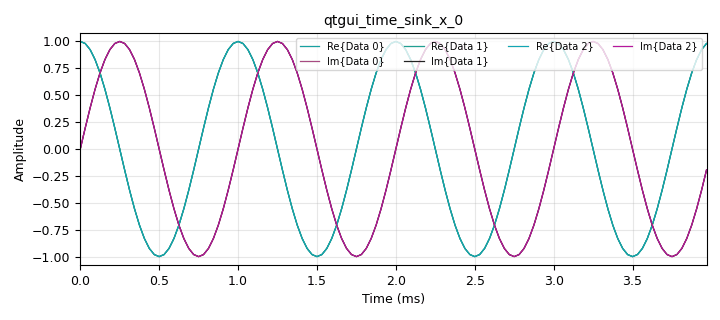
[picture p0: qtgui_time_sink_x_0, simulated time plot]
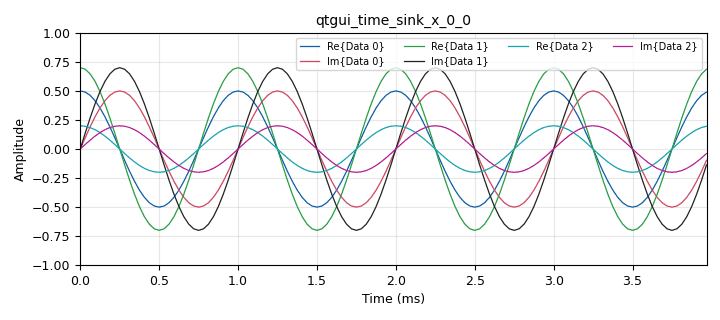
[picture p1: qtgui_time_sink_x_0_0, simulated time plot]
<?xml version='1.0' encoding='utf-8'?>
<?grc format='1' created='3.7.8'?>
<flow_graph>
<block>
<key>options</key>
<param><key>id</key><value>top_block</value></param>
<param><key>category</key><value>Custom</value></param>
<param><key>generate_options</key><value>qt_gui</value></param>
</block>
<block>
<key>variable</key>
<param><key>id</key><value>samp_rate</value></param>
<param><key>value</key><value>32000</value></param>
</block>
<block>
<key>variable</key>
<param><key>id</key><value>vec_length</value></param>
<param><key>value</key><value>1024</value></param>
</block>
<block>
<key>analog_const_source_x</key>
<param><key>id</key><value>analog_const_source_x_0</value></param>
<param><key>const</key><value>0</value></param>
<param><key>type</key><value>float</value></param>
</block>
<block>
<key>analog_sig_source_x</key>
<param><key>id</key><value>analog_sig_source_x_0</value></param>
<param><key>amp</key><value>1</value></param>
<param><key>freq</key><value>1000</value></param>
<param><key>offset</key><value>0</value></param>
<param><key>type</key><value>complex</value></param>
<param><key>samp_rate</key><value>samp_rate</value></param>
<param><key>waveform</key><value>analog.GR_COS_WAVE</value></param>
</block>
<block>
<key>blocks_complex_to_real</key>
<param><key>id</key><value>blocks_complex_to_real_0</value></param>
</block>
<block>
<key>blocks_complex_to_real</key>
<param><key>id</key><value>blocks_complex_to_real_0_0</value></param>
</block>
<block>
<key>blocks_complex_to_real</key>
<param><key>id</key><value>blocks_complex_to_real_0_1</value></param>
</block>
<block>
<key>blocks_divide_xx</key>
<param><key>id</key><value>blocks_divide_xx_0</value></param>
<param><key>type</key><value>complex</value></param>
</block>
<block>
<key>blocks_divide_xx</key>
<param><key>id</key><value>blocks_divide_xx_0_0</value></param>
<param><key>type</key><value>complex</value></param>
</block>
<block>
<key>blocks_divide_xx</key>
<param><key>id</key><value>blocks_divide_xx_0_1</value></param>
<param><key>type</key><value>complex</value></param>
</block>
<block>
<key>blocks_float_to_complex</key>
<param><key>id</key><value>blocks_float_to_complex_0</value></param>
</block>
<block>
<key>blocks_float_to_complex</key>
<param><key>id</key><value>blocks_float_to_complex_0_0</value></param>
</block>
<block>
<key>blocks_float_to_complex</key>
<param><key>id</key><value>blocks_float_to_complex_0_1</value></param>
</block>
<block>
<key>blocks_max_xx</key>
<param><key>id</key><value>blocks_max_xx_0</value></param>
<param><key>type</key><value>float</value></param>
<param><key>vlen</key><value>vec_length</value></param>
</block>
<block>
<key>blocks_max_xx</key>
<param><key>id</key><value>blocks_max_xx_0_0</value></param>
<param><key>type</key><value>float</value></param>
<param><key>vlen</key><value>vec_length</value></param>
</block>
<block>
<key>blocks_max_xx</key>
<param><key>id</key><value>blocks_max_xx_2</value></param>
<param><key>type</key><value>float</value></param>
<param><key>vlen</key><value>vec_length</value></param>
</block>
<block>
<key>blocks_multiply_const_vxx</key>
<param><key>id</key><value>blocks_multiply_const_vxx_0</value></param>
<param><key>const</key><value>0.5</value></param>
<param><key>type</key><value>complex</value></param>
</block>
<block>
<key>blocks_multiply_const_vxx</key>
<param><key>id</key><value>blocks_multiply_const_vxx_0_0</value></param>
<param><key>const</key><value>0.2</value></param>
<param><key>type</key><value>complex</value></param>
</block>
<block>
<key>blocks_multiply_const_vxx</key>
<param><key>id</key><value>blocks_multiply_const_vxx_0_1</value></param>
<param><key>const</key><value>0.7</value></param>
<param><key>type</key><value>complex</value></param>
</block>
<block>
<key>blocks_repeat</key>
<param><key>id</key><value>blocks_repeat_0</value></param>
<param><key>interp</key><value>vec_length</value></param>
<param><key>type</key><value>float</value></param>
</block>
<block>
<key>blocks_repeat</key>
<param><key>id</key><value>blocks_repeat_0_0</value></param>
<param><key>interp</key><value>vec_length</value></param>
<param><key>type</key><value>float</value></param>
</block>
<block>
<key>blocks_repeat</key>
<param><key>id</key><value>blocks_repeat_0_1</value></param>
<param><key>interp</key><value>vec_length</value></param>
<param><key>type</key><value>float</value></param>
</block>
<block>
<key>blocks_stream_to_vector</key>
<param><key>id</key><value>blocks_stream_to_vector_0</value></param>
<param><key>type</key><value>float</value></param>
<param><key>num_items</key><value>vec_length</value></param>
</block>
<block>
<key>blocks_stream_to_vector</key>
<param><key>id</key><value>blocks_stream_to_vector_0_0</value></param>
<param><key>type</key><value>float</value></param>
<param><key>num_items</key><value>vec_length</value></param>
</block>
<block>
<key>blocks_stream_to_vector</key>
<param><key>id</key><value>blocks_stream_to_vector_0_1</value></param>
<param><key>type</key><value>float</value></param>
<param><key>num_items</key><value>vec_length</value></param>
</block>
<block>
<key>blocks_throttle</key>
<param><key>id</key><value>blocks_throttle_0</value></param>
<param><key>samples_per_second</key><value>samp_rate</value></param>
<param><key>type</key><value>complex</value></param>
</block>
<block>
<key>qtgui_time_sink_x</key>
<param><key>id</key><value>qtgui_time_sink_x_0</value></param>
<param><key>color1</key><value>"blue"</value></param>
<param><key>label1</key><value></value></param>
<param><key>color2</key><value>"red"</value></param>
<param><key>label2</key><value></value></param>
<param><key>color3</key><value>"green"</value></param>
<param><key>label3</key><value></value></param>
<param><key>color4</key><value>"black"</value></param>
<param><key>label4</key><value></value></param>
<param><key>color5</key><value>"cyan"</value></param>
<param><key>label5</key><value></value></param>
<param><key>color6</key><value>"magenta"</value></param>
<param><key>label6</key><value></value></param>
<param><key>nconnections</key><value>3</value></param>
<param><key>size</key><value>128</value></param>
<param><key>srate</key><value>samp_rate</value></param>
<param><key>type</key><value>complex</value></param>
</block>
<block>
<key>qtgui_time_sink_x</key>
<param><key>id</key><value>qtgui_time_sink_x_0_0</value></param>
<param><key>color1</key><value>"blue"</value></param>
<param><key>label1</key><value></value></param>
<param><key>color2</key><value>"red"</value></param>
<param><key>label2</key><value></value></param>
<param><key>color3</key><value>"green"</value></param>
<param><key>label3</key><value></value></param>
<param><key>color4</key><value>"black"</value></param>
<param><key>label4</key><value></value></param>
<param><key>color5</key><value>"cyan"</value></param>
<param><key>label5</key><value></value></param>
<param><key>color6</key><value>"magenta"</value></param>
<param><key>label6</key><value></value></param>
<param><key>nconnections</key><value>3</value></param>
<param><key>size</key><value>128</value></param>
<param><key>srate</key><value>samp_rate</value></param>
<param><key>type</key><value>complex</value></param>
</block>
<connection><source_block_id>analog_const_source_x_0</source_block_id><sink_block_id>blocks_float_to_complex_0</sink_block_id><source_key>0</source_key><sink_key>1</sink_key></connection>
<connection><source_block_id>analog_const_source_x_0</source_block_id><sink_block_id>blocks_float_to_complex_0_0</sink_block_id><source_key>0</source_key><sink_key>1</sink_key></connection>
<connection><source_block_id>analog_const_source_x_0</source_block_id><sink_block_id>blocks_float_to_complex_0_1</sink_block_id><source_key>0</source_key><sink_key>1</sink_key></connection>
<connection><source_block_id>analog_sig_source_x_0</source_block_id><sink_block_id>blocks_throttle_0</sink_block_id><source_key>0</source_key><sink_key>0</sink_key></connection>
<connection><source_block_id>blocks_complex_to_real_0</source_block_id><sink_block_id>blocks_stream_to_vector_0</sink_block_id><source_key>0</source_key><sink_key>0</sink_key></connection>
<connection><source_block_id>blocks_complex_to_real_0_0</source_block_id><sink_block_id>blocks_stream_to_vector_0_0</sink_block_id><source_key>0</source_key><sink_key>0</sink_key></connection>
<connection><source_block_id>blocks_complex_to_real_0_1</source_block_id><sink_block_id>blocks_stream_to_vector_0_1</sink_block_id><source_key>0</source_key><sink_key>0</sink_key></connection>
<connection><source_block_id>blocks_divide_xx_0</source_block_id><sink_block_id>qtgui_time_sink_x_0</sink_block_id><source_key>0</source_key><sink_key>0</sink_key></connection>
<connection><source_block_id>blocks_divide_xx_0_0</source_block_id><sink_block_id>qtgui_time_sink_x_0</sink_block_id><source_key>0</source_key><sink_key>1</sink_key></connection>
<connection><source_block_id>blocks_divide_xx_0_1</source_block_id><sink_block_id>qtgui_time_sink_x_0</sink_block_id><source_key>0</source_key><sink_key>2</sink_key></connection>
<connection><source_block_id>blocks_float_to_complex_0</source_block_id><sink_block_id>blocks_divide_xx_0</sink_block_id><source_key>0</source_key><sink_key>1</sink_key></connection>
<connection><source_block_id>blocks_float_to_complex_0_0</source_block_id><sink_block_id>blocks_divide_xx_0_0</sink_block_id><source_key>0</source_key><sink_key>1</sink_key></connection>
<connection><source_block_id>blocks_float_to_complex_0_1</source_block_id><sink_block_id>blocks_divide_xx_0_1</sink_block_id><source_key>0</source_key><sink_key>1</sink_key></connection>
<connection><source_block_id>blocks_max_xx_0</source_block_id><sink_block_id>blocks_repeat_0_1</sink_block_id><source_key>0</source_key><sink_key>0</sink_key></connection>
<connection><source_block_id>blocks_max_xx_0_0</source_block_id><sink_block_id>blocks_repeat_0</sink_block_id><source_key>0</source_key><sink_key>0</sink_key></connection>
<connection><source_block_id>blocks_max_xx_2</source_block_id><sink_block_id>blocks_repeat_0_0</sink_block_id><source_key>0</source_key><sink_key>0</sink_key></connection>
<connection><source_block_id>blocks_multiply_const_vxx_0</source_block_id><sink_block_id>blocks_complex_to_real_0</sink_block_id><source_key>0</source_key><sink_key>0</sink_key></connection>
<connection><source_block_id>blocks_multiply_const_vxx_0</source_block_id><sink_block_id>blocks_divide_xx_0</sink_block_id><source_key>0</source_key><sink_key>0</sink_key></connection>
<connection><source_block_id>blocks_multiply_const_vxx_0</source_block_id><sink_block_id>qtgui_time_sink_x_0_0</sink_block_id><source_key>0</source_key><sink_key>0</sink_key></connection>
<connection><source_block_id>blocks_multiply_const_vxx_0_0</source_block_id><sink_block_id>blocks_complex_to_real_0_0</sink_block_id><source_key>0</source_key><sink_key>0</sink_key></connection>
<connection><source_block_id>blocks_multiply_const_vxx_0_0</source_block_id><sink_block_id>blocks_divide_xx_0_1</sink_block_id><source_key>0</source_key><sink_key>0</sink_key></connection>
<connection><source_block_id>blocks_multiply_const_vxx_0_0</source_block_id><sink_block_id>qtgui_time_sink_x_0_0</sink_block_id><source_key>0</source_key><sink_key>2</sink_key></connection>
<connection><source_block_id>blocks_multiply_const_vxx_0_1</source_block_id><sink_block_id>blocks_complex_to_real_0_1</sink_block_id><source_key>0</source_key><sink_key>0</sink_key></connection>
<connection><source_block_id>blocks_multiply_const_vxx_0_1</source_block_id><sink_block_id>blocks_divide_xx_0_0</sink_block_id><source_key>0</source_key><sink_key>0</sink_key></connection>
<connection><source_block_id>blocks_multiply_const_vxx_0_1</source_block_id><sink_block_id>qtgui_time_sink_x_0_0</sink_block_id><source_key>0</source_key><sink_key>1</sink_key></connection>
<connection><source_block_id>blocks_repeat_0</source_block_id><sink_block_id>blocks_float_to_complex_0</sink_block_id><source_key>0</source_key><sink_key>0</sink_key></connection>
<connection><source_block_id>blocks_repeat_0_0</source_block_id><sink_block_id>blocks_float_to_complex_0_0</sink_block_id><source_key>0</source_key><sink_key>0</sink_key></connection>
<connection><source_block_id>blocks_repeat_0_1</source_block_id><sink_block_id>blocks_float_to_complex_0_1</sink_block_id><source_key>0</source_key><sink_key>0</sink_key></connection>
<connection><source_block_id>blocks_stream_to_vector_0</source_block_id><sink_block_id>blocks_max_xx_0_0</sink_block_id><source_key>0</source_key><sink_key>0</sink_key></connection>
<connection><source_block_id>blocks_stream_to_vector_0_0</source_block_id><sink_block_id>blocks_max_xx_0</sink_block_id><source_key>0</source_key><sink_key>0</sink_key></connection>
<connection><source_block_id>blocks_stream_to_vector_0_1</source_block_id><sink_block_id>blocks_max_xx_2</sink_block_id><source_key>0</source_key><sink_key>0</sink_key></connection>
<connection><source_block_id>blocks_throttle_0</source_block_id><sink_block_id>blocks_multiply_const_vxx_0</sink_block_id><source_key>0</source_key><sink_key>0</sink_key></connection>
<connection><source_block_id>blocks_throttle_0</source_block_id><sink_block_id>blocks_multiply_const_vxx_0_0</sink_block_id><source_key>0</source_key><sink_key>0</sink_key></connection>
<connection><source_block_id>blocks_throttle_0</source_block_id><sink_block_id>blocks_multiply_const_vxx_0_1</sink_block_id><source_key>0</source_key><sink_key>0</sink_key></connection>
</flow_graph>
